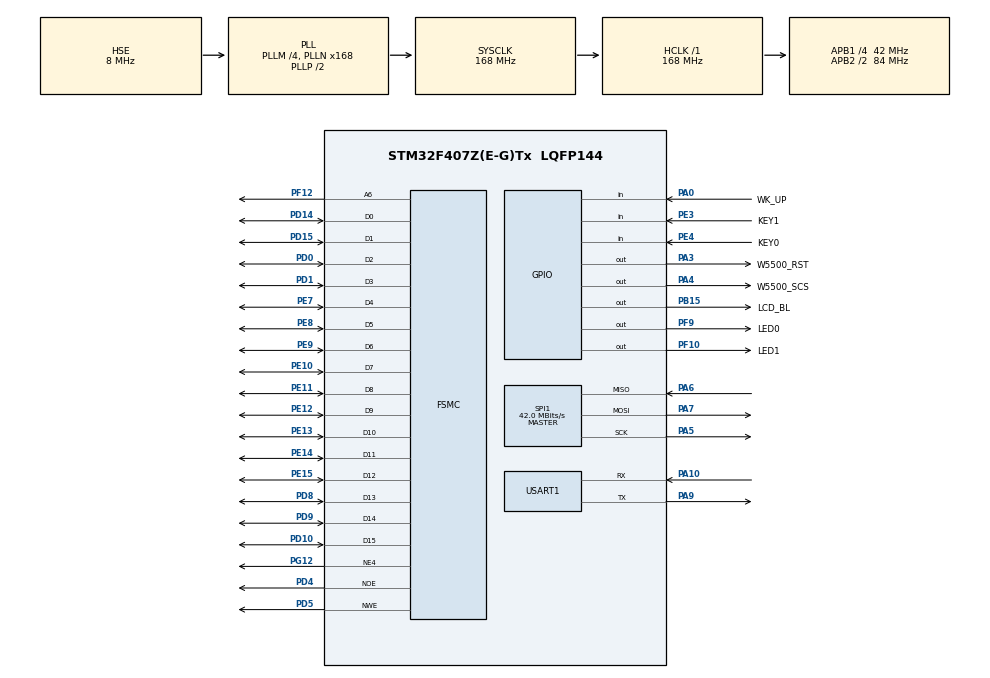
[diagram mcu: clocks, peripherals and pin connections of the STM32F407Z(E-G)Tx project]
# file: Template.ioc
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Mcu.Family=STM32F4
Mcu.Name=STM32F407Z(E-G)Tx
Mcu.Package=LQFP144
NVIC.PriorityGroup=NVIC_PRIORITYGROUP_4
NVIC.USART1_IRQn=true\:1\:0\:true\:false\:true\:true\:false\:true
PA0-WKUP.GPIO_Label=WK_UP
PA0-WKUP.GPIO_PuPd=GPIO_PULLDOWN
PA0-WKUP.Signal=GPIO_Input
PA10.Mode=Asynchronous
PA10.Signal=USART1_RX
PA13.Mode=Serial_Wire
PA13.Signal=SYS_JTMS-SWDIO
PA14.Mode=Serial_Wire
PA14.Signal=SYS_JTCK-SWCLK
PA3.GPIO_Label=W5500_RST
PA3.Signal=GPIO_Output
PA4.GPIO_Label=W5500_SCS
PA4.PinState=GPIO_PIN_SET
PA4.Signal=GPIO_Output
PA5.Mode=Full_Duplex_Master
PA5.Signal=SPI1_SCK
PA6.Mode=Full_Duplex_Master
PA6.Signal=SPI1_MISO
PA7.Mode=Full_Duplex_Master
PA7.Signal=SPI1_MOSI
PA9.Mode=Asynchronous
PA9.Signal=USART1_TX
PB15.GPIO_Label=LCD_BL
PB15.Signal=GPIO_Output
PD0.Signal=FSMC_D2_DA2
PD1.Signal=FSMC_D3_DA3
PD10.Signal=FSMC_D15_DA15
PD14.Signal=FSMC_D0_DA0
PD15.Signal=FSMC_D1_DA1
PD4.Signal=FSMC_NOE
PD5.Signal=FSMC_NWE
PD8.Signal=FSMC_D13_DA13
PD9.Signal=FSMC_D14_DA14
PE10.Signal=FSMC_D7_DA7
PE11.Signal=FSMC_D8_DA8
PE12.Signal=FSMC_D9_DA9
PE13.Signal=FSMC_D10_DA10
PE14.Signal=FSMC_D11_DA11
PE15.Signal=FSMC_D12_DA12
PE3.GPIO_Label=KEY1
PE3.GPIO_PuPd=GPIO_PULLUP
PE3.Signal=GPIO_Input
PE4.GPIO_Label=KEY0
PE4.GPIO_PuPd=GPIO_PULLUP
PE4.Signal=GPIO_Input
PE7.Signal=FSMC_D4_DA4
PE8.Signal=FSMC_D5_DA5
PE9.Signal=FSMC_D6_DA6
PF10.GPIO_Label=LED1
PF10.GPIO_PuPd=GPIO_NOPULL
PF10.PinState=GPIO_PIN_SET
PF10.Signal=GPIO_Output
PF12.Signal=FSMC_A6
PF9.GPIO_Label=LED0
PF9.GPIO_PuPd=GPIO_NOPULL
PF9.PinState=GPIO_PIN_SET
PF9.Signal=GPIO_Output
PG12.Mode=NorPsramChipSelect4_1
PG12.Signal=FSMC_NE4
PH0-OSC_IN.Mode=HSE-External-Oscillator
PH0-OSC_IN.Signal=RCC_OSC_IN
PH1-OSC_OUT.Mode=HSE-External-Oscillator
PH1-OSC_OUT.Signal=RCC_OSC_OUT
ProjectManager.HeapSize=0x200
ProjectManager.StackSize=0x400
ProjectManager.TargetToolchain=MDK-ARM V5.32
RCC.48MHZClocksFreq_Value=84000000
RCC.AHBFreq_Value=168000000
RCC.APB1CLKDivider=RCC_HCLK_DIV4
RCC.APB1Freq_Value=42000000
RCC.APB1TimFreq_Value=84000000
RCC.APB2CLKDivider=RCC_HCLK_DIV2
RCC.APB2Freq_Value=84000000
RCC.APB2TimFreq_Value=168000000
RCC.CortexFreq_Value=168000000
RCC.HCLKFreq_Value=168000000
RCC.HSE_VALUE=8000000
RCC.HSI_VALUE=16000000
RCC.LSE_VALUE=32768
RCC.PLLM=4
RCC.PLLN=168
RCC.PLLSourceVirtual=RCC_PLLSOURCE_HSE
RCC.SYSCLKFreq_VALUE=168000000
RCC.SYSCLKSource=RCC_SYSCLKSOURCE_PLLCLK
RCC.VCOOutputFreq_Value=336000000
SH.FSMC_A6.0=FSMC_A6,A6_1
SH.FSMC_D0_DA0.0=FSMC_D0,16b-d1
SH.FSMC_D10_DA10.0=FSMC_D10,16b-d1
SH.FSMC_D11_DA11.0=FSMC_D11,16b-d1
SH.FSMC_D12_DA12.0=FSMC_D12,16b-d1
SH.FSMC_D13_DA13.0=FSMC_D13,16b-d1
SH.FSMC_D14_DA14.0=FSMC_D14,16b-d1
SH.FSMC_D15_DA15.0=FSMC_D15,16b-d1
SH.FSMC_D1_DA1.0=FSMC_D1,16b-d1
SH.FSMC_D2_DA2.0=FSMC_D2,16b-d1
SH.FSMC_D3_DA3.0=FSMC_D3,16b-d1
SH.FSMC_D4_DA4.0=FSMC_D4,16b-d1
SH.FSMC_D5_DA5.0=FSMC_D5,16b-d1
SH.FSMC_D6_DA6.0=FSMC_D6,16b-d1
SH.FSMC_D7_DA7.0=FSMC_D7,16b-d1
SH.FSMC_D8_DA8.0=FSMC_D8,16b-d1
SH.FSMC_D9_DA9.0=FSMC_D9,16b-d1
SH.FSMC_NOE.0=FSMC_NOE,Lcd1
SH.FSMC_NWE.0=FSMC_NWE,Lcd1
SPI1.BaudRatePrescaler=SPI_BAUDRATEPRESCALER_2
SPI1.CalculateBaudRate=42.0 MBits/s
SPI1.Direction=SPI_DIRECTION_2LINES
SPI1.Mode=SPI_MODE_MASTER
SPI1.VirtualType=VM_MASTER
USART1.VirtualMode=VM_ASYNC
board=custom

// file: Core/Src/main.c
/* USER CODE BEGIN Header */
/**
  ******************************************************************************
  * @file           : main.c
  * @brief          : Main program body
  ******************************************************************************
  * @attention
  *
  * Copyright (c) 2025 STMicroelectronics.
  * All rights reserved.
  *
  * This software is licensed under terms that can be found in the LICENSE file
  * in the root directory of this software component.
  * If no LICENSE file comes with this software, it is provided AS-IS.
  *
  ******************************************************************************
  */
/* USER CODE END Header */
#include "main.h"

/* USER CODE BEGIN Includes */
#include "system.h"
#include "drv_LCD.h"
#include "bsp_key.h"
#include "bsp_uart.h"
#include "drv_w5500.h"
/* USER CODE END Includes */

SPI_HandleTypeDef hspi1;

UART_HandleTypeDef huart1;

SRAM_HandleTypeDef hsram1;

void SystemClock_Config(void);
static void MX_GPIO_Init(void);
static void MX_USART1_UART_Init(void);
static void MX_SPI1_Init(void);
static void MX_FSMC_Init(void);

int main(void)
{

  /* USER CODE BEGIN 1 */
	uint16_t oldcount=0;				    //老的串口接收数据值
  /* USER CODE END 1 */

  /* MCU Configuration--------------------------------------------------------*/

  /* Reset of all peripherals, Initializes the Flash interface and the Systick. */
  HAL_Init();

  /* Configure the system clock */
  SystemClock_Config();

  /* Initialize all configured peripherals */
  MX_GPIO_Init();
  MX_USART1_UART_Init();
  MX_SPI1_Init();
  MX_FSMC_Init();
  /* USER CODE BEGIN 2 */
	bsp_systick_init(168);
	bsp_uart1_init();
	drv_LCD_Init();
	LCD_Clear(WHITE);
	POINT_COLOR=RED;//设置字体为红色
  printf("Welcome!!\r\n");
	LCD_ShowString(30,50,200,16,16,"Explorer STM32F4");
	LCD_ShowString(30,70,200,16,16,"NET WORK TEST");
	LCD_ShowString(30,90,200,16,16,"ATOM@ALIENTEK");
	LCD_ShowString(30,110,200,16,16,"2025/1/21");
	POINT_COLOR=BLUE;//设置字体为蓝色
	W5500_Initialization();
  /* USER CODE END 2 */

  /* Infinite loop */
  /* USER CODE BEGIN WHILE */
  while (1)
  {
		if(USART_RX_CNT){
			if(oldcount==USART_RX_CNT)//新周期内,没有收到任何数据,认为本次数据接收完成.
			{

				USART_RX_CNT=0;
			}else oldcount=USART_RX_CNT;
		}
		delay_ms(10);

    /* USER CODE END WHILE */

  }
}

void SystemClock_Config(void)
{
  RCC_OscInitTypeDef RCC_OscInitStruct = {0};
  RCC_ClkInitTypeDef RCC_ClkInitStruct = {0};

  /** Configure the main internal regulator output voltage
  */
  __HAL_RCC_PWR_CLK_ENABLE();
  __HAL_PWR_VOLTAGESCALING_CONFIG(PWR_REGULATOR_VOLTAGE_SCALE1);

  /** Initializes the RCC Oscillators according to the specified parameters
  * in the RCC_OscInitTypeDef structure.
  */
  RCC_OscInitStruct.OscillatorType = RCC_OSCILLATORTYPE_HSE;
  RCC_OscInitStruct.HSEState = RCC_HSE_ON;
  RCC_OscInitStruct.PLL.PLLState = RCC_PLL_ON;
  RCC_OscInitStruct.PLL.PLLSource = RCC_PLLSOURCE_HSE;
  RCC_OscInitStruct.PLL.PLLM = 4;
  RCC_OscInitStruct.PLL.PLLN = 168;
  RCC_OscInitStruct.PLL.PLLP = RCC_PLLP_DIV2;
  RCC_OscInitStruct.PLL.PLLQ = 4;
  if (HAL_RCC_OscConfig(&RCC_OscInitStruct) != HAL_OK)
  {
    Error_Handler();
  }

  /** Initializes the CPU, AHB and APB buses clocks
  */
  RCC_ClkInitStruct.ClockType = RCC_CLOCKTYPE_HCLK|RCC_CLOCKTYPE_SYSCLK
                              |RCC_CLOCKTYPE_PCLK1|RCC_CLOCKTYPE_PCLK2;
  RCC_ClkInitStruct.SYSCLKSource = RCC_SYSCLKSOURCE_PLLCLK;
  RCC_ClkInitStruct.AHBCLKDivider = RCC_SYSCLK_DIV1;
  RCC_ClkInitStruct.APB1CLKDivider = RCC_HCLK_DIV4;
  RCC_ClkInitStruct.APB2CLKDivider = RCC_HCLK_DIV2;

  if (HAL_RCC_ClockConfig(&RCC_ClkInitStruct, FLASH_LATENCY_5) != HAL_OK)
  {
    Error_Handler();
  }
}

static void MX_SPI1_Init(void)
{

  /* SPI1 parameter configuration*/
  hspi1.Instance = SPI1;
  hspi1.Init.Mode = SPI_MODE_MASTER;
  hspi1.Init.Direction = SPI_DIRECTION_2LINES;
  hspi1.Init.DataSize = SPI_DATASIZE_8BIT;
  hspi1.Init.CLKPolarity = SPI_POLARITY_LOW;
  hspi1.Init.CLKPhase = SPI_PHASE_1EDGE;
  hspi1.Init.NSS = SPI_NSS_SOFT;
  hspi1.Init.BaudRatePrescaler = SPI_BAUDRATEPRESCALER_2;
  hspi1.Init.FirstBit = SPI_FIRSTBIT_MSB;
  hspi1.Init.TIMode = SPI_TIMODE_DISABLE;
  hspi1.Init.CRCCalculation = SPI_CRCCALCULATION_DISABLE;
  hspi1.Init.CRCPolynomial = 10;
  if (HAL_SPI_Init(&hspi1) != HAL_OK)
  {
    Error_Handler();
  }

}

static void MX_USART1_UART_Init(void)
{

  huart1.Instance = USART1;
  huart1.Init.BaudRate = 115200;
  huart1.Init.WordLength = UART_WORDLENGTH_8B;
  huart1.Init.StopBits = UART_STOPBITS_1;
  huart1.Init.Parity = UART_PARITY_NONE;
  huart1.Init.Mode = UART_MODE_TX_RX;
  huart1.Init.HwFlowCtl = UART_HWCONTROL_NONE;
  huart1.Init.OverSampling = UART_OVERSAMPLING_16;
  if (HAL_UART_Init(&huart1) != HAL_OK)
  {
    Error_Handler();
  }

}

static void MX_GPIO_Init(void)
{
  GPIO_InitTypeDef GPIO_InitStruct = {0};

  /* GPIO Ports Clock Enable */
  __HAL_RCC_GPIOE_CLK_ENABLE();
  __HAL_RCC_GPIOF_CLK_ENABLE();
  __HAL_RCC_GPIOH_CLK_ENABLE();
  __HAL_RCC_GPIOA_CLK_ENABLE();
  __HAL_RCC_GPIOB_CLK_ENABLE();
  __HAL_RCC_GPIOD_CLK_ENABLE();
  __HAL_RCC_GPIOG_CLK_ENABLE();

  /*Configure GPIO pin Output Level */
  HAL_GPIO_WritePin(GPIOF, LED0_Pin|LED1_Pin, GPIO_PIN_SET);

  /*Configure GPIO pin Output Level */
  HAL_GPIO_WritePin(W5500_RST_GPIO_Port, W5500_RST_Pin, GPIO_PIN_RESET);

  /*Configure GPIO pin Output Level */
  HAL_GPIO_WritePin(W5500_SCS_GPIO_Port, W5500_SCS_Pin, GPIO_PIN_SET);

  /*Configure GPIO pin Output Level */
  HAL_GPIO_WritePin(LCD_BL_GPIO_Port, LCD_BL_Pin, GPIO_PIN_RESET);

  /*Configure GPIO pins : KEY1_Pin KEY0_Pin */
  GPIO_InitStruct.Pin = KEY1_Pin|KEY0_Pin;
  GPIO_InitStruct.Mode = GPIO_MODE_INPUT;
  GPIO_InitStruct.Pull = GPIO_PULLUP;
  HAL_GPIO_Init(GPIOE, &GPIO_InitStruct);

  /*Configure GPIO pins : LED0_Pin LED1_Pin */
  GPIO_InitStruct.Pin = LED0_Pin|LED1_Pin;
  GPIO_InitStruct.Mode = GPIO_MODE_OUTPUT_PP;
  GPIO_InitStruct.Pull = GPIO_NOPULL;
  GPIO_InitStruct.Speed = GPIO_SPEED_FREQ_LOW;
  HAL_GPIO_Init(GPIOF, &GPIO_InitStruct);

  /*Configure GPIO pin : WK_UP_Pin */
  GPIO_InitStruct.Pin = WK_UP_Pin;
  GPIO_InitStruct.Mode = GPIO_MODE_INPUT;
  GPIO_InitStruct.Pull = GPIO_PULLDOWN;
  HAL_GPIO_Init(WK_UP_GPIO_Port, &GPIO_InitStruct);

  /*Configure GPIO pins : W5500_RST_Pin W5500_SCS_Pin */
  GPIO_InitStruct.Pin = W5500_RST_Pin|W5500_SCS_Pin;
  GPIO_InitStruct.Mode = GPIO_MODE_OUTPUT_PP;
  GPIO_InitStruct.Pull = GPIO_NOPULL;
  GPIO_InitStruct.Speed = GPIO_SPEED_FREQ_LOW;
  HAL_GPIO_Init(GPIOA, &GPIO_InitStruct);

  /*Configure GPIO pin : LCD_BL_Pin */
  GPIO_InitStruct.Pin = LCD_BL_Pin;
  GPIO_InitStruct.Mode = GPIO_MODE_OUTPUT_PP;
  GPIO_InitStruct.Pull = GPIO_NOPULL;
  GPIO_InitStruct.Speed = GPIO_SPEED_FREQ_LOW;
  HAL_GPIO_Init(LCD_BL_GPIO_Port, &GPIO_InitStruct);

}

/* FSMC initialization function */
static void MX_FSMC_Init(void)
{

  FSMC_NORSRAM_TimingTypeDef Timing = {0};

  /** Perform the SRAM1 memory initialization sequence
  */
  hsram1.Instance = FSMC_NORSRAM_DEVICE;
  hsram1.Extended = FSMC_NORSRAM_EXTENDED_DEVICE;
  /* hsram1.Init */
  hsram1.Init.NSBank = FSMC_NORSRAM_BANK4;
  hsram1.Init.DataAddressMux = FSMC_DATA_ADDRESS_MUX_DISABLE;
  hsram1.Init.MemoryType = FSMC_MEMORY_TYPE_SRAM;
  hsram1.Init.MemoryDataWidth = FSMC_NORSRAM_MEM_BUS_WIDTH_16;
  hsram1.Init.BurstAccessMode = FSMC_BURST_ACCESS_MODE_DISABLE;
  hsram1.Init.WaitSignalPolarity = FSMC_WAIT_SIGNAL_POLARITY_LOW;
  hsram1.Init.WrapMode = FSMC_WRAP_MODE_DISABLE;
  hsram1.Init.WaitSignalActive = FSMC_WAIT_TIMING_BEFORE_WS;
  hsram1.Init.WriteOperation = FSMC_WRITE_OPERATION_ENABLE;
  hsram1.Init.WaitSignal = FSMC_WAIT_SIGNAL_DISABLE;
  hsram1.Init.ExtendedMode = FSMC_EXTENDED_MODE_DISABLE;
  hsram1.Init.AsynchronousWait = FSMC_ASYNCHRONOUS_WAIT_DISABLE;
  hsram1.Init.WriteBurst = FSMC_WRITE_BURST_DISABLE;
  hsram1.Init.PageSize = FSMC_PAGE_SIZE_NONE;
  /* Timing */
  Timing.AddressSetupTime = 15;
  Timing.AddressHoldTime = 15;
  Timing.DataSetupTime = 255;
  Timing.BusTurnAroundDuration = 15;
  Timing.CLKDivision = 16;
  Timing.DataLatency = 17;
  Timing.AccessMode = FSMC_ACCESS_MODE_A;
  /* ExtTiming */

  if (HAL_SRAM_Init(&hsram1, &Timing, NULL) != HAL_OK)
  {
    Error_Handler( );
  }

}

void Error_Handler(void)
{
  __disable_irq();
  while (1)
  {
  }
}
